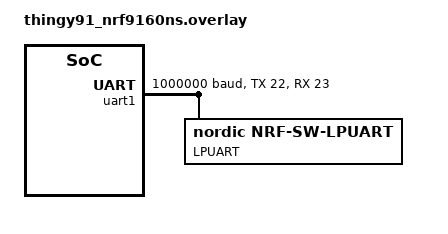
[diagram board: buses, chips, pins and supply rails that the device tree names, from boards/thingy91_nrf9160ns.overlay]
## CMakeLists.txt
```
#
# Copyright (c) 2018 Nordic Semiconductor
#
# SPDX-License-Identifier: LicenseRef-BSD-5-Clause-Nordic
#

cmake_minimum_required(VERSION 3.13.1)

find_package(Zephyr REQUIRED HINTS $ENV{ZEPHYR_BASE})
project(mqtt_google_cloud)

#if(NOT EXISTS ${APPLICATION_SOURCE_DIR}/src/private_info/key.c)
#    message(FATAL_ERROR "!!!!!! Generate key file before continuing !!!!!!")
#endif()

# NORDIC SDK APP START
target_sources(app PRIVATE src/main.c)
target_sources(app PRIVATE src/gcloud.c)
#target_sources(app PRIVATE src/private_info/key.c)
# NORDIC SDK APP END
zephyr_include_directories(src)

# Include application events and configuration headers
zephyr_library_include_directories(
  include
)
```

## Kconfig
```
config GCLOUD_PROJECT_NAME
    string "Name of the Google Cloud project"

config GCLOUD_REGION
    string "Google cloud region"

config GCLOUD_REGISTRY_NAME
    string "Name of the Google Cloud reigstry of the device"

config GCLOUD_DEVICE_NAME
    string "Name of the device in Google Cloud"
          
menu "Environment sensors"

    config TEMP_DEV_NAME
        string "Temperature device name"
        help
            Device from which temperature data will be fetched and
            sent to nRF Cloud.

    config USE_BME680_BSEC
        bool "Use Bosch BME680 BSEC lib"
        default y
        help
            Enable use of Bosch BSEC library. The library itself is not a part of
            NCS and must be downloaded from Bosch Sensortec.
    
    config BOSCH_BSEC_LIBRARY_PATH
        string "Path to Bosch BSEC library folder"
        default "$(ZEPHYR_BASE)/../nrf/ext/BSEC_1.4.7.4_Generic_Release"
        help
            Path to the folder where the Bosch BSEC library is placed.

    config ENVIRONMENT_DATA_SEND_INTERVAL
        int "Interval in seconds for sending environment data"
        default 30
        help
            Interval between each sampling and sending of environment sensor data.
            If the GPS is active, sensor data will not be sent before it is
            stopped. The unit is seconds.
    
    config ENVIRONMENT_DATA_BACKOFF_TIME
        int "Time to delay sending environment data if GPS active"
        default 20
        help
            Time in seconds before retrying to send environment sensor data if
            the GPS is active.

endmenu # Environment sensors

config MQTT_MESSAGE_BUFFER_SIZE
    int "MQTT message buffer size"
    default 256

config MQTT_PAYLOAD_BUFFER_SIZE
    int "MQTT payload buffer size"
    default 256

config GCLOUD_LOG_LEVEL
    int "App log level"
    default 4
        
# Include Zephyr's Kconfig
source "$ZEPHYR_BASE/Kconfig"
```

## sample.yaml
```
sample:
  name: mqtt google cloud
tests:
  samples.nrf9160.mqtt_simple:
    build_only: true
    build_on_all: true
    platform_whitelist: nrf9160dk_nrf9160ns
    tags: ci_build
```

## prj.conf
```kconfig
# Networking
CONFIG_NETWORKING=y
CONFIG_NET_NATIVE=n
CONFIG_NET_SOCKETS_OFFLOAD=y
CONFIG_NET_SOCKETS=y
CONFIG_NET_SOCKETS_POSIX_NAMES=y

# LTE link control
CONFIG_LTE_LINK_CONTROL=y
CONFIG_LTE_AUTO_INIT_AND_CONNECT=n
CONFIG_LTE_NETWORK_MODE_NBIOT=n
CONFIG_LTE_NETWORK_MODE_LTE_M=y

# Modem library
CONFIG_NRF_MODEM_LIB=y
CONFIG_DATE_TIME_MODEM=y
CONFIG_DATE_TIME=y
CONFIG_DATE_TIME_UPDATE_INTERVAL_SECONDS=0

# App config
CONFIG_ASSERT=y
CONFIG_RESET_ON_FATAL_ERROR=y
CONFIG_REBOOT=y
CONFIG_AT_HOST_LIBRARY=y
CONFIG_AT_CMD_RESPONSE_MAX_LEN=4096
CONFIG_UART_INTERRUPT_DRIVEN=y

# General config
CONFIG_NEWLIB_LIBC=y
CONFIG_NEWLIB_LIBC_NANO=n
CONFIG_CJSON_LIB=y

# Debug settings
CONFIG_SERIAL=y
CONFIG_LOG=y
CONFIG_LOG_DEFAULT_LEVEL=4
CONFIG_GCLOUD_LOG_LEVEL=4

# Optimization
# CONFIG_NO_OPTIMIZATIONS=y
# CONFIG_DEBUG=y

# Expand logging memory to avoid log_strdup() errors
CONFIG_LOG_STRDUP_MAX_STRING=256
CONFIG_LOG_STRDUP_BUF_COUNT=12

# Disable Modem traces, since we need UART1 for HCI
CONFIG_NRF_MODEM_LIB_TRACE_ENABLED=n

# nRF9160 helper libraries
CONFIG_MODEM_KEY_MGMT=y
CONFIG_MODEM_INFO=y

#Google Cloud
CONFIG_GCLOUD_DEVICE_NAME="nrf-352656101077215"

CONFIG_GCLOUD_REGION="europe-west1"
CONFIG_GCLOUD_PROJECT_NAME="nordic-91-test"
CONFIG_GCLOUD_REGISTRY_NAME="nrf9160_testing"
#CONFIG_GCLOUD_REGION="us-central1"
#CONFIG_GCLOUD_PROJECT_NAME="dev-mbm-260419"
#CONFIG_GCLOUD_REGISTRY_NAME="T91"

# JSON
CONFIG_JSON_LIBRARY=y

# JWT
CONFIG_MODEM_JWT=y

# MQTT
CONFIG_MQTT_LIB=y
CONFIG_MQTT_LIB_TLS=y
CONFIG_MQTT_CLEAN_SESSION=y
CONFIG_MQTT_MESSAGE_BUFFER_SIZE=1024
CONFIG_MQTT_PAYLOAD_BUFFER_SIZE=1024

# Heap and stacks
CONFIG_HEAP_MEM_POOL_SIZE=16384
CONFIG_MAIN_STACK_SIZE=8192
CONFIG_SYSTEM_WORKQUEUE_STACK_SIZE=8192
CONFIG_BT_RX_STACK_SIZE=2048

# Enable settings storage
CONFIG_SETTINGS=y

### BLE Specific ####

# Enable Bluetooth stack and libraries
CONFIG_BT=y
CONFIG_BT_H4=y
CONFIG_BT_WAIT_NOP=y
CONFIG_BT_CENTRAL=y
CONFIG_BT_GATT_CLIENT=y
CONFIG_BT_GATT_DM=y
CONFIG_BT_SCAN=y
CONFIG_BT_SCAN_FILTER_ENABLE=y
CONFIG_BT_SCAN_MANUFACTURER_DATA_CNT=1

CONFIG_BT_BONDABLE=n
CONFIG_BT_L2CAP_TX_MTU=247
CONFIG_BT_HCI_ACL_FLOW_CONTROL=y
CONFIG_BT_MAX_CONN=1
CONFIG_BT_AUTO_PHY_UPDATE=y
CONFIG_BT_DATA_LEN_UPDATE=y

CONFIG_ZERO_LATENCY_IRQS=n
```

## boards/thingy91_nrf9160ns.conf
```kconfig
CONFIG_NRF_SW_LPUART=y
CONFIG_NRF_SW_LPUART_INT_DRIVEN=y

CONFIG_UART_1_ASYNC=y
CONFIG_UART_1_INTERRUPT_DRIVEN=n
CONFIG_UART_1_NRF_HW_ASYNC=y
CONFIG_UART_1_NRF_HW_ASYNC_TIMER=2

CONFIG_USE_SEGGER_RTT=y
CONFIG_RTT_CONSOLE=y
CONFIG_UART_CONSOLE=n
CONFIG_LOG_BACKEND_RTT=y

CONFIG_AT_HOST_LIBRARY=n

CONFIG_LTE_LOCK_BANDS=y
# Enable band 2, 3, 4, 8, 12, 13 ,20 and 28
CONFIG_LTE_LOCK_BAND_MASK="1000000010000001100010001110"
```

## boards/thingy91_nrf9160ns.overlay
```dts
/ {
	chosen {
		zephyr,bt-uart=&lpuart;
	};
};

&uart1 {
	current-speed = <1000000>;
	status = "okay";
	tx-pin = <22>;
	rx-pin = <23>;
	/delete-property/ rts-pin;
	/delete-property/ cts-pin;
	/delete-property/ hw-flow-control;

	lpuart: nrf-sw-lpuart {
		compatible = "nordic,nrf-sw-lpuart";
		status = "okay";
		label = "LPUART";
		req-pin = <24>;
		rdy-pin = <25>;
	};
};

&gpiote {
	interrupts = <49 NRF_DEFAULT_IRQ_PRIORITY>;
};
```

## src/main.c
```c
/*
 * Copyright (c) 2020 Safecility.com
 * Author: tad@safecility.com
 */

#include <zephyr.h>
#include <device.h>

#include <stdio.h>
#include <stdlib.h>
#include <string.h>
#include <errno.h>

#include <power/reboot.h>

#include <nrf_modem.h>
#include <modem/lte_lc.h>
#include <modem/modem_info.h>

#include <nrf_socket.h>
#include <net/socket.h>
#include <net/mqtt.h>

#include <date_time.h>
#include <gcloud.h>
#include <cJSON.h>

//#define WITH_BLE

#ifdef WITH_BLE

#include <bluetooth/bluetooth.h>
#include <bluetooth/uuid.h>
#include <bluetooth/gatt.h>
#include <bluetooth/hci.h>
#include <bluetooth/gatt_dm.h>
#include <bluetooth/scan.h>

#endif

static K_SEM_DEFINE(connected_to_cloud, 0, 1);
static K_SEM_DEFINE(ble_ready, 0, 1);


/* Size of buffer determines update rate */
#define MAX_MESSAGE_SIZE 256

struct app_message {
	char data[MAX_MESSAGE_SIZE];
	size_t len;
};

/* Register main module log */
LOG_MODULE_REGISTER(google_mqtt, CONFIG_GCLOUD_LOG_LEVEL);

/* Stack definition for application */
static K_THREAD_STACK_DEFINE(gc_stack_area, 4096);

/* Threads */
static struct k_thread gc_thread;

k_tid_t gc_tid;

struct m_info_t
{
    char cid[30];
    char tac[30];
    char rssi[30];
    char apn[60];
    char fwv[60];
    uint16_t vltg;
    uint16_t temp;
};

/* Semaphores */
static K_SEM_DEFINE(date_time_ok, 0, 1);

/* Global Variables */

/* Forward declarations of functions */
static void store_modem_configuration(void);
static void scan_stop(void);

/* Handlers */
void button_handler(uint32_t button_state, uint32_t has_changed)
{
    LOG_INF("Button event: %x  %x\n", button_state, has_changed);
    if ((has_changed & 0x01) && (button_state & 0x01))
    {
        store_modem_configuration();
    }
}

/**@brief Handler for when receiving data from Google Cloud */
void received_config_handler(const struct mqtt_publish_message *message)
{

    cJSON *data_json = cJSON_Parse(message->payload.data);
    cJSON_Delete(data_json);
}

/**@brief Configures modem to provide LTE link. Blocks until link is
 * successfully established
 */
static void modem_configure(void)
{
	/* Turn off LTE power saving features for a more responsive demo. Also,
	 * request power saving features before network registration. Some
	 * networks rejects timer updates after the device has registered to the
	 * LTE network.
	 */
	LOG_INF("Disabling PSM and eDRX");
	lte_lc_psm_req(false);
	lte_lc_edrx_req(false);

    if (IS_ENABLED(CONFIG_LTE_AUTO_INIT_AND_CONNECT))
    {
        /* Do nothing, modem is already turned on and connected */
    }
    else
    {
        int err;

        LOG_INF("Establishing LTE link\n");
        err = lte_lc_init_and_connect();
        if (err) {
			LOG_INF("Failed to establish LTE connection: %d", err);
		}
    }
}

/**@brief Soft boots modem to store current values to NVM */
void store_modem_configuration(void)
{
    int err;

    LOG_INF("Storing modem configuration\n");
    err = lte_lc_power_off();
    if (err)
    {
        LOG_INF("Fail turning off modem: %d\n", err);
    }
    LOG_INF("Modem offline, turning back on\n");

    err = lte_lc_normal();
    if (err)
    {
        LOG_INF("Fail turning on modem: %d\n", err);
    }
    LOG_INF("Done\n");
}

/**@brief Return modem information */
void get_modem_info(struct m_info_t *info)
{
    LOG_INF("Getting modem info\n");
    modem_info_string_get(MODEM_INFO_CELLID, info->cid, sizeof(info->cid));
    modem_info_string_get(MODEM_INFO_AREA_CODE, info->tac, sizeof(info->tac));
    modem_info_string_get(MODEM_INFO_RSRP, info->rssi, sizeof(info->rssi));
    modem_info_string_get(MODEM_INFO_APN, info->apn, sizeof(info->apn));
    modem_info_string_get(MODEM_INFO_FW_VERSION, info->fwv, sizeof(info->fwv));
    modem_info_short_get(MODEM_INFO_BATTERY, &info->vltg);
    modem_info_short_get(MODEM_INFO_TEMP, &info->temp);
}

void date_time_handler(const struct date_time_evt *evt) {

	switch (evt->type)
	{
	case DATE_TIME_OBTAINED_MODEM:
		LOG_DBG("DATE_TIME: got time from modem.\n");
		k_sem_give(&date_time_ok);
		break;
	case DATE_TIME_OBTAINED_NTP:
		LOG_DBG("DATE_TIME: got time from NTP.\n");
		k_sem_give(&date_time_ok);
		break;
	case DATE_TIME_OBTAINED_EXT:
		LOG_DBG("DATE_TIME: got time from external.\n");
		k_sem_give(&date_time_ok);
		break;
	case DATE_TIME_NOT_OBTAINED:
		LOG_DBG("DATE_TIME: failed to get time.\n");
		k_sem_give(&date_time_ok);
		break;
	default:
		break;
	}
}

void create_message(struct app_message* destination, uint8_t *data, size_t len, int64_t *timestamp) {

	cJSON *message;

	message = cJSON_CreateObject();

	char time_str[16];
	snprintf(time_str, 16, "%lld", *timestamp);

	char data_str[len];
	snprintf(data_str, len, "%s", data);

	cJSON_AddStringToObject(message, "timestamp", time_str);
	cJSON_AddStringToObject(message, "data", data);

	destination->len = strlen(cJSON_Print(message));

	strcpy(destination->data, cJSON_Print(message));

	cJSON_Delete(message);
}

#ifdef WITH_BLE

#define BT_ADDR  "06:09:16"

#define ADV_BUF_SIZE 128

bool bt_parse_cb(struct bt_data *data, void *user_data) {

	LOG_INF("Parsed adv -- Type: %d", data->type);

	return true;
}

void scan_filter_match(struct bt_scan_device_info *device_info,
		       struct bt_scan_filter_match *filter_match,
		       bool connectable)
{
	char addr[BT_ADDR_LE_STR_LEN];

	bt_addr_le_to_str(device_info->recv_info->addr, addr, sizeof(addr));

	int ret = !strncmp(BT_ADDR, addr, 9);

	if(!ret) {
		LOG_INF("Device found: %s", log_strdup(addr));

		bt_data_parse(device_info->adv_data, bt_parse_cb, (void *)addr);

		/** Demonstration of data transmission **/
		//Should check for connection before publishing

		int pub_success;
			
		//Get timestamp
		int64_t curr_time;
		date_time_now(&curr_time);

		struct app_message message;
		create_message(&message, addr, sizeof(addr), &curr_time);

		pub_success = gcloud_publish(message.data, message.len, MQTT_QOS_1_AT_LEAST_ONCE);
		if (pub_success != 0)
		{
			LOG_INF("JSON data Publish failed\n");
			scan_stop();
		}
		/** Demonstration end **/

	} else {
		LOG_INF("Not a relevant address: %d", ret);
	}
}

void scan_connecting_error(struct bt_scan_device_info *device_info)
{
	LOG_ERR("Connection to peer failed!");
}

bool bt_parse_cb_nomatch(struct bt_data *data, void *user_data) {

	//LOG_INF("Device found: %s", log_strdup(user_data));

	char buffer[ADV_BUF_SIZE];

	switch(data->type) 
	{
		case BT_DATA_NAME_COMPLETE:

			memcpy(buffer, data->data, data->data_len);
			if(!strncmp("47:05:9B",buffer,data->data_len)) {
				char addr_str_le[BT_ADDR_LE_STR_LEN];
				bt_addr_le_to_str(user_data, addr_str_le, BT_ADDR_LE_STR_LEN);
				LOG_INF("Got LE address: %s ", log_strdup(addr_str_le));
			}

			break;

		default:
			//nothing here
			break;
	}

	return true;
}

void scan_filter_no_match(struct bt_scan_device_info *device_info,bool connectable) {

	
	bt_data_parse(device_info->adv_data, bt_parse_cb_nomatch, (void *)device_info->recv_info->addr);

}

BT_SCAN_CB_INIT(scan_cb, scan_filter_match, scan_filter_no_match, scan_connecting_error, NULL);

static void scan_stop(void)
{
	int err;

	LOG_INF("Stopping scan");

	err = bt_le_scan_stop();
	if (err) {
		LOG_ERR("bt_le_scan_stop: %d", err);
	} else {
		LOG_INF("STANDBY");
	}
}

static void scan_start(void)
{
	int err;

	struct bt_le_scan_param scan_param = {
		.type = BT_LE_SCAN_TYPE_ACTIVE,
		.options = BT_LE_SCAN_OPT_NONE,
		.interval = 0x0010,
		.window = 0x0010,
	};

	struct bt_scan_init_param scan_init = {
		.connect_if_match = 0,
		.scan_param = &scan_param,
		.conn_param = NULL,
	};

	bt_scan_init(&scan_init);
	bt_scan_cb_register(&scan_cb);

	static const uint16_t manufacturer_id = 0x028d;
    struct bt_scan_manufacturer_data id_filter;
    id_filter.data = (uint8_t*) &manufacturer_id;
    id_filter.data_len = 2;

	err = bt_scan_filter_add(BT_SCAN_FILTER_TYPE_MANUFACTURER_DATA, &id_filter);
	if (err) {
		LOG_ERR("MANUFACTURER scanning filters cannot be set");
		return;
	}

	err = bt_scan_filter_enable(BT_SCAN_MANUFACTURER_DATA_FILTER, false);
	if (err) {
		LOG_ERR("Filters cannot be turned on");
	}

	err = bt_scan_start(BT_SCAN_TYPE_SCAN_ACTIVE);
	if (err) {
		LOG_ERR("Scanning failed to start, err %d", err);
	}


	LOG_INF("Scanning...");
}

static void bt_ready(int err)
{
	if (err) {
		LOG_ERR("%s: %d", __func__, err);
		return;
	}

	k_sem_give(&ble_ready);

	//Wait for cloud connection
    k_sem_take(&connected_to_cloud, K_FOREVER);
	scan_start();
}

#endif

/**@brief Thread initialisation */
void main(void)
{
    int err;

    LOG_INF("Google Cloud BLE app started");

    #ifdef WITH_BLE
		err = bt_enable(bt_ready);
		if (err) {
			LOG_ERR("bt_enable: %d", err);
		}

	k_sem_take(&ble_ready, K_FOREVER);
	#endif

    LOG_INF("Initializing modem");
    modem_configure();

    LOG_INF("Initializing modem info");
    modem_info_init();

    date_time_update_async(date_time_handler);
    k_sem_take(&date_time_ok, K_FOREVER);

    /* Initialise Google Cloud thread */
    gc_tid = k_thread_create(&gc_thread, gc_stack_area, K_THREAD_STACK_SIZEOF(gc_stack_area),
                             (k_thread_entry_t)gcloud_thread, NULL, NULL, NULL,
                             7, 0, K_NO_WAIT);



    /* Connect to Google Cloud */
    LOG_INF("Connecting to Google Cloud");
    //err = gcloud_connect(received_config_handler);
    err = gcloud_connect(NULL);
    if (err)
    {
        LOG_ERR("Failed to connect to Google Cloud, error: %d", err);
        /* Reboot */
        sys_reboot(0); //TODO: Handle error
    }
    else
    {
        LOG_INF("Connected to Google Cloud");
	    k_sem_give(&connected_to_cloud);
    }
}
```

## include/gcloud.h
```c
#ifndef __MQTT_H__
#define __MQTT_H__

#include <net/mqtt.h>

#define strlens(s) (s==NULL?0:strlen(s))

typedef void (*received_config_handler_t)(const struct mqtt_publish_message *message);

/**
 * @brief Publishes data to Google Cloud.
 * 
 * @param[in] data A pointer to the data to be sent.
 * @param[in] size The size of the data to be sent.
 * @param[in] qos The Quality of Serive level to be used when sending the telemetry.
 * 
 * @note Google Cloud does only support QoS 0 and QoS 1, not QoS 2
 * 
 * @retval 0 or an error code indicating reason for failure.
 */
// CANDO: Make it possible to publish gps to subtopics
int gcloud_publish(uint8_t *data, uint32_t size, enum mqtt_qos qos);

/**
 * @brief Publishes device state to Google Cloud.
 * 
 * @param[in] data A pointer to the data to be sent.
 * @param[in] size The size of the data to be sent.
 * @param[in] qos The Quality of service level to be used when sending the state.
 * 
 * @note Google Cloud does only support QoS 0 and QoS 1, not Qos 2.
 * @note Google Cloud limits state updates to 1 update per second, per device. 
 *       However, for best results, device state should be updated much less often 
 *       - at most, once every 10 second.
 * 
 * @retval 0 or an error code indicating reson for failure.
 */
int gcloud_publish_state(uint8_t *data, uint32_t size, enum mqtt_qos qos);

/**
 * @brief Connects the device to Google Cloud, and subscribes to Google Cloud's configuration topic.
 * 
 * @note gcloud_provision must be called before this.
 * @note Shall be called before trying to send data to Google Cloud.
 * @note The modem must be turned on, and connected before this function can be called.
 * 
 * @param[in] received_config_cb Callback function which will be called when a configuration 
 *            update is received from Google Cloud.
 * 
 * @retval - or an error code indicating reason for failure.
 */
// CANDO: make it possible to set keep-alive checks, and input check intervals
// CANDO: make it possible to decide what QoS level the subscription to config should be
int gcloud_connect(received_config_handler_t received_config_cb);

/**
 * @brief Deprecating. Provisioning should be done in production.
 * 
 * Initializes the module and provisions the modem so that an TLS 
 * connection can be established to Google Cloud.
 * 
 * @note Shall be called before the modem is turned on.
 * @note Shall be called before gcloud_connect.
 * @note If module initialization fails, no module APIs shall be called.
 * 
 * @retval 0 or an error code indicating reason for failure.
 */
//int gcloud_provision(void);

/**
 * @brief Disconnects the device from Google Cloud.
 * 
 * @retval 0 or an error code indicating reason for failure.
 */
int gcloud_disconnect(void);

/**
 * @brief Google Cloud Thread entry.
 */
extern void gcloud_thread(void *unused1, void *unused2, void *unused3);

#endif /* __MQTT_H__ */
```

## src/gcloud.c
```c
#include<logging/log.h>

#include <zephyr.h>
#include <kernel.h>
#include <string.h>
#include <errno.h>

#include <date_time.h>

#include <net/mqtt.h>
#include <net/socket.h>
#include <net/tls_credentials.h>

#include <modem/modem_key_mgmt.h>
#include <modem/modem_jwt.h>
#include <nrf_modem.h>

#include "gcloud.h"

#include "globalsign.inc"

#define CONFIGURATION_SUBSCRIPTION

#define GCLOUD_ID "projects/" CONFIG_GCLOUD_PROJECT_NAME "/locations/" CONFIG_GCLOUD_REGION "/registries/" CONFIG_GCLOUD_REGISTRY_NAME "/devices/" CONFIG_GCLOUD_DEVICE_NAME

#define GCLOUD_HOSTNAME "mqtt.googleapis.com" 
#define BROKER_ADDR GCLOUD_HOSTNAME
#define BROKER_PORT 8883

#define GCLOUD_SEC_TAG 16842752
#define SUBSCRIBE_ID 42

#define MQTT_LIVE_PERIOD K_SECONDS(55)
#define GCLOUD_DISCONNECT_INTERVAL K_HOURS(12)
//#define GCLOUD_DISCONNECT_INTERVAL K_MINUTES(1) //For testing purposes


#define GCLOUD_CONFIG_TOPIC "/devices/" CONFIG_GCLOUD_DEVICE_NAME "/config"
#define GCLOUD_STATE_TOPIC "/devices/" CONFIG_GCLOUD_DEVICE_NAME "/state"
#define GCLOUD_TOPIC "/devices/" CONFIG_GCLOUD_DEVICE_NAME "/events"

#define JWT_BUFFER_SIZE 850

#define GCLOUD_THREAD_STACK_SIZE 2048

#define GCLOUD_THREAD_PRIORITY 7

#define DEFAULT_MSGQ_TIMEOUT K_SECONDS(100)

LOG_MODULE_REGISTER(gcloud);

/* Buffers for MQTT client. */
static uint8_t rx_buffer[CONFIG_MQTT_MESSAGE_BUFFER_SIZE];
static uint8_t tx_buffer[CONFIG_MQTT_MESSAGE_BUFFER_SIZE];
static uint8_t payload_buffer[CONFIG_MQTT_PAYLOAD_BUFFER_SIZE];

/* MQTT thrad definitions */
static K_THREAD_STACK_DEFINE(mqtt_stack_area, 4096);
static struct k_thread mqtt_thread;
static k_tid_t mqtt_tid;

/* File descriptor */
static struct pollfd fds;

static K_SEM_DEFINE(gc_connected_sem, 0, 1);

extern void gcloud_thread(void *, void *, void *);

enum gcloud_event_type {
    CONNECT,
    PUBLISH_STATE,
    PUBLISH,
    RECONNECT_TIMEOUT,
    DISCONNECT,
    SUBSCRIBE
};

struct empty {};

union gcloud_event_param {
    struct empty connect;
    struct mqtt_publish_message publish_state; // This could be a whole mqtt message, thus allowing custom topics
    struct mqtt_publish_message publish;
    struct empty reconnect_timeout;
    struct empty disconnect;
    struct empty subscribe; // Here we could add the list of topics to be subscribed to
};

struct gcloud_event {
    enum gcloud_event_type type;
    union gcloud_event_param param;
};

static struct mqtt_client client;
static struct sockaddr_storage mqtt_broker;
static struct mqtt_sec_config tls_config;

char jwt_buffer[JWT_BUFFER_SIZE];
static struct mqtt_utf8 jwt_token = {
    .utf8 = jwt_buffer
};
static struct mqtt_utf8 username = {
    .utf8 = "unused",
    .size = sizeof("unused")
};

static struct mqtt_topic gcloud_topics_list[] = {
    {
        .topic = {
            .utf8 = GCLOUD_CONFIG_TOPIC,
            .size = sizeof(GCLOUD_CONFIG_TOPIC) - 1
        },
        .qos = MQTT_QOS_1_AT_LEAST_ONCE
    }
};



static received_config_handler_t received_config_handler = NULL;

#define N_MESSAGES 3
K_MSGQ_DEFINE(gcloud_msgq, sizeof(struct gcloud_event), N_MESSAGES, 4);

static void mqtt_event_handler(struct mqtt_client *const cli, const struct mqtt_evt *evt);

void reconnect_timer_handler(struct k_timer *timer_id);
K_TIMER_DEFINE(reconnect_timer, reconnect_timer_handler, NULL);

int k_msgq_get_atomic(struct k_msgq *q, void *data, k_timeout_t timeout);
int k_msgq_put_atomic(struct k_msgq *q, void *data, k_timeout_t timeout);

static bool connected = false;
static bool connecting = false;

/**@brief Function to print strings without null-termination
 */
static void data_print(uint8_t *prefix, uint8_t *data, size_t len)
{
	char buf[len + 1];

	memcpy(buf, data, len);
	buf[len] = 0;
	LOG_INF("%s%s", log_strdup(prefix), log_strdup(buf));
}

/**@brief Resolves the configured hostname and
 * initializes the MQTT broker structure
 */
static void broker_init(void)
{
    int err;
    struct addrinfo *result;
    struct addrinfo *addr;
    struct addrinfo hints = {
        .ai_family = AF_INET,
        .ai_socktype = SOCK_STREAM
    };

    err = getaddrinfo(GCLOUD_HOSTNAME, NULL, &hints, &result);
    if (err) {
        LOG_ERR("ERROR: getaddrinfo failed [%d] %s", err, strerror(err));
        return;
    }

    addr = result;
    err = -ENOENT;

    /* Look for address of the broker. */
    while (addr != NULL) {
        /* IPv4 Address. */
        if (addr->ai_addrlen == sizeof(struct sockaddr_in)) {
            struct sockaddr_in *broker4 =
                ((struct sockaddr_in *)&mqtt_broker);

            broker4->sin_addr.s_addr =
                ((struct sockaddr_in *)addr->ai_addr)
                ->sin_addr.s_addr;
            broker4->sin_family = AF_INET;
            broker4->sin_port = htons(BROKER_PORT);
            
            LOG_DBG("IPv4 Address found 0x%08x",
                broker4->sin_addr.s_addr);
            break;
        } else {
            LOG_ERR("ai_addrlen = %u should be %u or %u",
                (unsigned int)addr->ai_addrlen,
                (unsigned int)sizeof(struct sockaddr_in),
                (unsigned int)sizeof(struct sockaddr_in6));
        }

        addr = addr->ai_next;
        break;
    }

    /* Free the address. */
    freeaddrinfo(result);
}

static int make_jwt(char *buffer, size_t buffer_size) {

    int err;
    
    struct jwt_data jwt;
    jwt.sec_tag = GCLOUD_SEC_TAG;
    jwt.key = JWT_KEY_TYPE_CLIENT_PRIV;
    jwt.alg = JWT_ALG_TYPE_ES256;
    jwt.exp_delta_s = 12 * 60 * 60; //24 hours
    jwt.jwt_buf = buffer;
    jwt.jwt_sz = buffer_size;
    jwt.subject = NULL;
    jwt.audience = CONFIG_GCLOUD_PROJECT_NAME;

    err = modem_jwt_generate(&jwt);

    return err;
}

static int gcloud_subscribe() {
    const struct mqtt_subscription_list subscriptions = {
        .list = (struct mqtt_topic *)&gcloud_topics_list,
        .list_count = ARRAY_SIZE(gcloud_topics_list),
        .message_id = SUBSCRIBE_ID
    };

    return mqtt_subscribe(&client, &subscriptions);
}

static int client_init(void) {

    mqtt_client_init(&client);

    int err = make_jwt(jwt_buffer, JWT_BUFFER_SIZE);
    if (err != 0) {
        LOG_ERR("Unable to make jwt: [%d] %s", err, strerror(-err));
        return err;
    }

    LOG_DBG("JWT:\n%s\n", log_strdup(jwt_buffer));
    LOG_DBG("JWT length: %d\n", strlen(jwt_buffer));
    jwt_token.size = strlen(jwt_buffer);

    client.broker = &mqtt_broker;

    /* MQTT client configuration */
    client.evt_cb = mqtt_event_handler;
    client.client_id.utf8 = (uint8_t *)GCLOUD_ID;
    client.client_id.size = strlen(GCLOUD_ID);

	client.password = &jwt_token;
	client.user_name = &username;

    client.protocol_version = MQTT_VERSION_3_1_1;

	/* MQTT buffers configuration */
	client.rx_buf = rx_buffer;
	// client.rx_buf_size = sizeof(rx_buffer);
    client.rx_buf_size = 512;

	client.tx_buf = tx_buffer;
	// client.tx_buf_size = sizeof(tx_buffer);
    client.tx_buf_size = 1024;

    /* MQTT transport configuration */
	client.transport.type = MQTT_TRANSPORT_SECURE;

    /* Session */
    client.clean_session = 1;
    client.keepalive = 120;

    return 0;
}

int gcloud_connect(received_config_handler_t received_config_cb) {
    int err = 0;
    received_config_handler = received_config_cb;

    // send connect command
    struct gcloud_event msg = {
        .type = CONNECT
    };

    LOG_DBG("Sending connect command");
    err = k_msgq_put_atomic(&gcloud_msgq, &msg, DEFAULT_MSGQ_TIMEOUT);
    if(err) {
        LOG_ERR("Could not add connect command to queue: %d", err);
    }

    LOG_DBG("Waiting for connection");

    k_sem_take(&gc_connected_sem, DEFAULT_MSGQ_TIMEOUT);

    return err;
}

int gcloud_disconnect() {
    int err = 0;

    // send disconnect command
    struct gcloud_event msg = {
        .type = DISCONNECT
    };
    err = k_msgq_put_atomic(&gcloud_msgq, &msg, DEFAULT_MSGQ_TIMEOUT);

    return err;
}

// CANDO: Merge publish functions, and only have one publish command
// (the public API can still have two separate functions)
int gcloud_publish(uint8_t *data, uint32_t size, enum mqtt_qos qos)
{
    int err;
    if (!connected) {
        LOG_WRN("Cannot publish data while not connected to Google Cloud");
        return -ENOTCONN;
    }

    struct gcloud_event cmd = {
        .type = PUBLISH,
        .param.publish = {
            .topic = {
                .topic = {
                    .utf8 = GCLOUD_TOPIC,
                    .size = strlen(GCLOUD_TOPIC)
                },
                .qos = qos
            },
            .payload = {
                .data = data,
                .len = size
            }
        }
    };

    err = k_msgq_put_atomic(&gcloud_msgq, &cmd, DEFAULT_MSGQ_TIMEOUT);

    return err;
}

int gcloud_publish_state(uint8_t *data, uint32_t size, enum mqtt_qos qos)
{
    int err;
    if (!connected) {
        LOG_WRN("Cannot publish state while not connected to Google Cloud");
        return -ENOTCONN;
    }
    struct gcloud_event state_cmd = {
        .type = PUBLISH_STATE,
        .param.publish_state = {
            .topic = {
                .topic = {
                    .utf8 = GCLOUD_STATE_TOPIC,
                    .size = strlen(GCLOUD_STATE_TOPIC)
                },
                .qos = qos
            },
            .payload = {
                .data = data,
                .len = size
            }
        }
    };
    err = k_msgq_put_atomic(&gcloud_msgq, &state_cmd, DEFAULT_MSGQ_TIMEOUT);
    return err;
}

int k_msgq_get_atomic(struct k_msgq *q, void *data, k_timeout_t timeout){
    unsigned int key = irq_lock();
    int temp = k_msgq_get(q, data, timeout);
    irq_unlock(key);
    return temp;
}

int k_msgq_put_atomic(struct k_msgq *q, void *data, k_timeout_t timeout){
    unsigned int key = irq_lock();
    int temp = k_msgq_put(q,data, timeout);
    irq_unlock(key);
    return temp;
}

void reconnect_timer_handler(struct k_timer *timer_id) {
    struct gcloud_event cmd = {
        .type = RECONNECT_TIMEOUT,
        .param = {}
    };
    int err = k_msgq_put(&gcloud_msgq, &cmd, K_NO_WAIT);

    if (err) {
        LOG_ERR("k_msgq_put (reconnect_timeout) failed: [%d] %s", err, strerror(err));
        // TODO: Find a way to report this error to the application.
    }
}

static void config_tls(void) {
    /* Security configuration */
    static sec_tag_t sec_tag_list[] = {GCLOUD_SEC_TAG};
    tls_config = (client.transport).tls.config;

	tls_config.peer_verify = 0;
    tls_config.hostname = NULL;

	tls_config.cipher_list = NULL;

	tls_config.cipher_count = 0;
	tls_config.sec_tag_count = ARRAY_SIZE(sec_tag_list);
	tls_config.sec_tag_list = sec_tag_list;
	tls_config.hostname = GCLOUD_HOSTNAME;
}

static void mqtt_event_handler(struct mqtt_client *const cli,
                const struct mqtt_evt *evt)
{
    int err = 0;
    LOG_INF("MQTT event: %d", evt->type);

    switch (evt->type) {
        /* Response to connack request */
        case MQTT_EVT_CONNACK:
            LOG_DBG("Got CONNACK");
            if (evt->result != 0) {
                LOG_ERR("MQTT connect failed: [%d] %s", evt->result, strerror(evt->result));
                break;
            }

            k_sem_give(&gc_connected_sem);

            connected = true;
            connecting = false;
            k_timer_start(&reconnect_timer, GCLOUD_DISCONNECT_INTERVAL, GCLOUD_DISCONNECT_INTERVAL);

            #ifdef CONFIGURATION_SUBSCRIPTION
            struct gcloud_event cmd = {
                .type = SUBSCRIBE,
                .param.subscribe = {}
            };

            err = k_msgq_put_atomic(&gcloud_msgq, &cmd, DEFAULT_MSGQ_TIMEOUT);

            if (err) {
                LOG_ERR("k_msgq_put_atomic (subscribe) failed: [%d] %s", err, strerror(err));
                // TODO: Find a way to report this error to the application.
            }
            #endif

            break;

        /* Message has been published to a topic we subscribe to */
        case MQTT_EVT_PUBLISH:
            LOG_DBG("MQTT PUBLISH event");
            const struct mqtt_publish_param *p = &evt->param.publish;

            if (evt->result != 0) {
                LOG_ERR("Publish event error: [%d] %s", evt->result, strerror(-evt->result));
            }

            if (p->message.topic.qos == MQTT_QOS_1_AT_LEAST_ONCE) {
                const struct mqtt_puback_param ack = {
                    .message_id = p->message_id
                };

                /* Send ack */
                mqtt_publish_qos1_ack(&client, &ack);
                LOG_INF("Send acknowledgement for message with ID: %d", p->message_id);
            }

            if(p->message.payload.len <= 2) {
                LOG_WRN("Received empty payload");
                break;
            }

            mqtt_readall_publish_payload(&client, payload_buffer, p->message.payload.len);

            LOG_DBG("Length of payload: %d", p->message.payload.len);
            LOG_DBG("Topic: %s", log_strdup(p->message.topic.topic.utf8));
            LOG_DBG("QoS: %d", p->message.topic.qos);
            data_print("Received: ", payload_buffer,
				p->message.payload.len);
            
            if (received_config_handler != NULL) {
                received_config_handler(&p->message);
            }
            
            break;

        /* Dissconnect event. MQTT Client Reference is no longer valid. */
        case MQTT_EVT_DISCONNECT:
            LOG_DBG("MQTT client disconnected: [%d] %s", evt->result, strerror(-evt->result));
            k_timer_stop(&reconnect_timer);
            // If we are connected, something has gone wrong, and we would like to reconnect
            // CANDO: Notify the application that we are attempting a reconnect
            
            // Purge message queue to make sure that there are no old messages waiting
            k_msgq_purge(&gcloud_msgq);

            if (connected || connecting) {
                LOG_DBG("Reconnection");
                k_thread_abort(mqtt_tid);
                err = gcloud_connect(received_config_handler);
                if (err) {
                    LOG_ERR("k_msgq_put_atomic (reconnect) [%d] %s", err, strerror(err));
                    // TODO: Find a way to report this error to the application.
                }
            }
            break;

        /* Acknowledgement for QoS 1 messages */
        case MQTT_EVT_PUBACK:
            if (evt->result != 0) {
                LOG_ERR("MQTT PUBACK error: %d", evt->result);
                break;
            }

            LOG_DBG("PUBACK packet id: %d\n", evt->param.puback.message_id);

            break;

        /* Reception confirmation for messages with QoS 2 */
        case MQTT_EVT_PUBREC:
            if (evt->result != 0) {
                LOG_ERR("MQTT PUBREC error: %d", evt->result);
                break;
            }

            LOG_DBG("PUBREC packet id: %u", evt->param.pubrec.message_id);

            const struct mqtt_pubrel_param rel_param = {
                .message_id = evt->param.pubrec.message_id
            };

            err = mqtt_publish_qos2_release(&client, &rel_param);
            if (err != 0) {
                LOG_ERR("Failed to send MQTT PUBREL: [%d] %s", err, strerror(err));
            }

            break;

        /* Release of messages with QoS 2 */
        case MQTT_EVT_PUBREL:
            LOG_DBG("MQTT PUBREL event");
            if (evt->result != 0) {
                LOG_ERR("PUBREL error: %d", evt->result);
                break;
            }
            break;

        /* Confirmation to publish */
        case MQTT_EVT_PUBCOMP:
            if (evt->result != 0) {
                LOG_ERR("MQTT PUBCOMP error: %d", evt->result);
                break;
            }

            LOG_DBG("PUBCOMP packet id: %u", evt->param.pubcomp.message_id);

            break;

        /* Ack of a subscription request */
        case MQTT_EVT_SUBACK:
            LOG_DBG("Got SUBACK");
            if (evt->result != 0) {
                LOG_ERR("MQTT SUBACK error: %d", evt->result);
                break;
            }

            break;

        /* Ack of an unsubscribe request */
        case MQTT_EVT_UNSUBACK:
            LOG_DBG("MQTT UNSUBACK event");
            if (evt->result != 0) {
                LOG_ERR("MQTT UNSUBACK error: %d", evt->result);
                break;
            }

            break;
        
        default:
            LOG_ERR("Unknown mqtt event type");
            break;
    }
}

/**@brief Initialize the file descriptor structure used by poll.
 */
static int fds_init(struct mqtt_client *c)
{
	if (c->transport.type == MQTT_TRANSPORT_NON_SECURE) {
		fds.fd = c->transport.tcp.sock;
	} else {
#if defined(CONFIG_MQTT_LIB_TLS)
		fds.fd = c->transport.tls.sock;
#else
		return -ENOTSUP;
#endif
	}

	fds.events = POLLIN;

	return 0;
}

void mqtt_thread_func(void *unused1, void *unused2, void *unused3) {
    int err;

    while(1) {
            err = poll(&fds, 1, mqtt_keepalive_time_left(&client));
            if (err < 0) {
                LOG_ERR("poll: %d", errno);
                break;
            }

            err = mqtt_live(&client);
            if ((err != 0) && (err != -EAGAIN)) {
                LOG_ERR("ERROR: mqtt_live: %d", err);
                break;
            }

            if ((fds.revents & POLLIN) == POLLIN) {
                err = mqtt_input(&client);
                if (err != 0) {
                    LOG_ERR("mqtt_input: %d", err);
                    break;
                }
            }

            if ((fds.revents & POLLERR) == POLLERR) {
                LOG_ERR("POLLERR");
                break;
            }

            if ((fds.revents & POLLNVAL) == POLLNVAL) {
                LOG_ERR("POLLNVAL");
                break;
            }
        }
}

extern void gcloud_thread(void *unused1, void *unused2, void *unused3) 
{
    int err;
    bool sent_flag = false;

    struct gcloud_event event;
    struct mqtt_publish_param msg;

    k_timer_init(&reconnect_timer, reconnect_timer_handler, NULL);

    config_tls();

    LOG_INF("Google Cloud Thread Running\n");
    while (true) {
        
        k_msgq_get_atomic(&gcloud_msgq, &event, K_FOREVER);

        switch (event.type) {
            case CONNECT:
                LOG_INF("Got CONNECT command");
                LOG_DBG("Initiating broker");
                broker_init();

                //LOG_DBG("Making JWT");
                //make_jwt(jwt_buffer, JWT_BUFFER_SIZE);

                LOG_DBG("Initiating client");
                client_init();

                LOG_DBG("Connecting mqtt");
                connecting = true;
                err = mqtt_connect(&client);
                if (err) {
                    LOG_ERR("mqtt_connect failed: [%d] %s", err, strerror(-err));
                    // TODO: Find a way to report this error to the application.
                }
                err = fds_init(&client);
	            if (err != 0) {
	            	LOG_ERR("fds_init: [%d] %s", err, strerror(-err));
	            }

                /* Initialise MQTT thread */
                mqtt_tid = k_thread_create(&mqtt_thread, mqtt_stack_area, K_THREAD_STACK_SIZEOF(mqtt_stack_area),
                             (k_thread_entry_t)mqtt_thread_func, NULL, NULL, NULL,
                             7, 0, K_NO_WAIT);

                break;
            case PUBLISH_STATE:
            if (connected) {
                LOG_DBG("Got PUBLISH_STATE command");
                msg.message = event.param.publish_state;
                msg.message_id = k_uptime_get_32();
                msg.dup_flag = 0;
                msg.retain_flag = 0;
                err = mqtt_publish(&client, &msg);
                
                if (err) {
                    LOG_ERR("mqtt_publish (state) failed: [%d] %s", err, strerror(-err));
                    // TODO: Find a way to report this error to the application.
                }
            };
            break;
            // CANDO: Merge these publish cases?
            case PUBLISH:
            if (connected) {
                LOG_DBG("Got PUBLISH command");
                msg.message = event.param.publish;
                msg.message_id = k_uptime_get_32();
                msg.dup_flag = 0;
                msg.retain_flag = 0;
                err = mqtt_publish(&client, &msg);
                if (err) {
                    LOG_ERR("mqtt_publish failed: [%d] %s", err, strerror(-err));
                    // TODO: Find a way to report this error to the application.
                }
                sent_flag = true;
            };
            break;
            case RECONNECT_TIMEOUT:
                LOG_DBG("Got RECONNECT_TIMEOUT command");
            case DISCONNECT:
                LOG_DBG("Got DISCONNECT command");
            if (connected) {
                k_timer_stop(&reconnect_timer);
       
                /* purge message queue */
                //k_msgq_purge(&gcloud_msgq);
                connected = false;
                if (event.type == DISCONNECT) {
                    LOG_DBG("Not setting connecting flag");
                    connecting = false;
                } else {
                    LOG_DBG("Setting connecting flag");
                    connecting = true;
                }

                LOG_DBG("Disconnecting mqtt");
                err = mqtt_disconnect(&client);
                if (err) {
                    LOG_ERR("mqtt_disconnect (reconnect) failed: [%d] %s", err, strerror(-err));
                    // TODO: Find a way to report this error to the application.
                }
            };
            break;
            case SUBSCRIBE:
            if (connected) {
                LOG_DBG("Got SUBSCRIBE command");
                err = gcloud_subscribe();
                if (err) {
                    LOG_ERR("gcloud_subscribe failed: [%d] %s", err, strerror(-err));
                    // TODO: Find a way to report this error to the application.
                }
            };
            break;
            default:
                LOG_ERR("Unknown event type received");
                // TODO: Find a way to report this error to the application.
        }
        /* If a message has been sent */
        if (sent_flag == true) {
           sent_flag = false;
        }
    }
}
```
